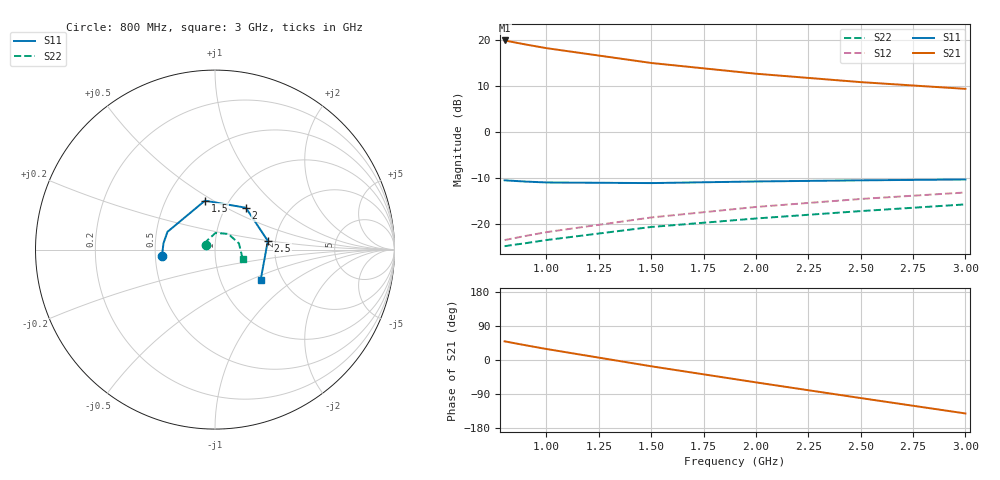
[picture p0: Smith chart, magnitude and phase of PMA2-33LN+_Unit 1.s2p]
! Noise Parameter Data File
! Unit 1
! De-embedded to DUT terminals
! bias mode 0: Vout= 0.0000 V, Iout= 0.0000 mA, Vin= 0.0000 V, Iin= 0.0000 mA
! Date/time: Mon Aug 12 20:10:43 2013
! fstart,fstop,numfreq:  0.8000 3.0000 7  (GHz)
! T ambient (deg c): 25.00
! Port[1] = IN
! Port[2] = OUT
# GHz S MA R 50
! freq  S11mag  S11ang  S21mag  S21ang  S12mag  S12ang  S22mag  S22ang
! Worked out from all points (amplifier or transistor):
!   7 points, 800 MHz to 3 GHz, reference 50 ohm
!   highest |S21| = 20.0 dB at 800 MHz (marker M1)
!   |S21| within 3 dB of that: start of sweep to 1.205 GHz
!   unconditionally stable (mu >= 1): start of sweep to end of sweep
!   at 900 MHz: K = 1.02, MAG = 20.0 dB, |S12| = -22.6 dB
!   at 1.5 GHz: K = 1.03, MAG = 15.7 dB, |S12| = -18.6 dB
!   at 3 GHz: K = 1.03, MAG = 10.2 dB, |S12| = -13.2 dB
!   lowest NFmin = 0.20 dB at 1 GHz
!   S11 on the Smith chart (normalised r, x): 800 MHz: 0.54, -0.04; 1.5 GHz: 0.78, +0.46; 2 GHz: 1.24, +0.63; 2.5 GHz: 1.82, +0.19; 3 GHz: 1.56, -0.57
0.8  0.2982 -172.8  9.956 49.2  0.06664 12.0  0.05719 153.2
0.9  0.2891 172.8  9.001 38.9  0.07394 5.8  0.06164 143.4
1  0.2826 159.5  8.207 29.0  0.08132 -0.6  0.06673 132.3
1.5  0.2783 101.6  5.661 -16.6  0.1175 -34.9  0.09255 88.5
2  0.2898 53.6  4.324 -59.0  0.1529 -70.8  0.1145 49.9
2.5  0.2981 9.4  3.501 -100.4  0.1868 -107.6  0.1379 14.4
3  0.3048 -33.3  2.957 -141.0  0.2199 -144.7  0.1631 -18.8
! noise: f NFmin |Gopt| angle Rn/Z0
0.8  0.2447  0.1648  89.19  0.02814
0.9  0.2324  0.1267  70.04  0.03096
1  0.1959  0.1841  100.6  0.02516
1.5  0.2605  0.2375  126.7  0.02202
2  0.2864  0.2061  -156.8  0.0259
2.5  0.343  0.2858  -163.5  0.02285
3  0.4664  0.3221  -138.6  0.03249
